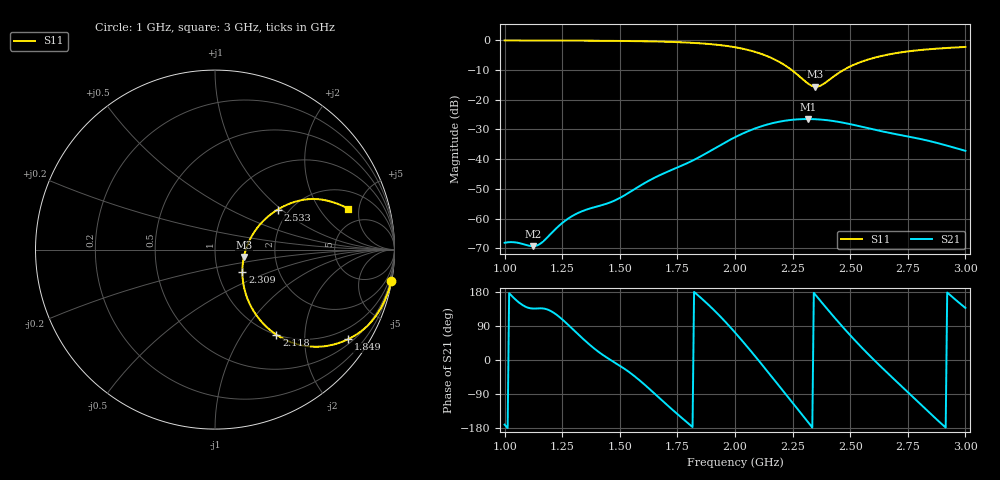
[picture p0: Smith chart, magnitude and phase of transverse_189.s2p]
! TOUCHSTONE file generated by CST MICROWAVE STUDIO
! Date and time: Tue Mar 11 13:57:38 2025
! Project name: transverse.cst
! Parameters = {Fracture=1; B=12.5; D=160; F=5; Feed=2.85625; L=100; M=30; R=0.384908; S=1; Theta=180; length=57.125; wave=114.25}
! Header version: 2024
! Port assignment regex: !\s*Touchstone port\s*([0-9]+)\s*=\s*(CST MWS port|CST DES external port|CST DES block port)\s*(.+)\s* \(\"(.*)\"\)(\s*mode\s*([0-9]+))?.*
! Touchstone port assignment:
! Touchstone port 1 = CST MWS port 1 ("")
! Touchstone port 2 = CST MWS port 2 ("")
# GHz S MA R 50
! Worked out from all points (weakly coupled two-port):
!   305 points, 1 GHz to 3 GHz, reference 50 ohm
!   highest |S21| = -26.49 dB at 2.316 GHz (marker M1); lowest = -69.3 dB at 1.125 GHz (marker M2)
!   lowest |S11| = -15.6 dB at 2.349 GHz (marker M3), VSWR 1.40, Z = 68.9 - j5.83 ohm
!   |S11| at or under -10 dB: 2.246 GHz to 2.47 GHz (224 MHz wide, 9.5 % of centre)
!   S12 and S22 are empty: the file has one direction only
!   S11 on the Smith chart (normalised r, x): 1 GHz: 0, -11; 1.849 GHz: 0.64, -3.15; 2.118 GHz: 1.00, -1.44; 2.309 GHz: 1.31, -0.34; 2.533 GHz: 1.75, +0.94; 3 GHz: 3.36, +3.84
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1  0.9976 -10.1  0.0003897 -170.6  0 0.0  0 0.0
1.04605  0.9969 -10.8  0.0003965 160.2  0 0.0  0 0.0
1.125  0.9955 -11.9  0.000342 135.7  0 0.0  0 0.0
1.16447  0.9948 -12.5  0.0004018 136.2  0 0.0  0 0.0
1.26974  0.9918 -14.4  0.0009595 96.4  0 0.0  0 0.0
1.33553  0.9891 -15.7  0.001323 58.6  0 0.0  0 0.0
1.48026  0.9812 -19.0  0.00203 -7.6  0 0.0  0 0.0
1.67105  0.9568 -25.3  0.005311 -99.9  0 0.0  0 0.0
1.84868  0.8929 -34.1  0.01101 165.7  0 0.0  0 0.0
2  0.7674 -44.8  0.02339 72.7  0 0.0  0 0.0
2.11842  0.5843 -54.2  0.03616 -13.2  0 0.0  0 0.0
2.21711  0.3802 -57.7  0.04439 -88.2  0 0.0  0 0.0
2.30921  0.1978 -39.6  0.04737 -158.2  0 0.0  0 0.0
2.31579  0.1891 -36.2  0.04738 -163.1  0 0.0  0 0.0
2.33553  0.1706 -23.8  0.04725 -177.9  0 0.0  0 0.0
2.34868  0.166 -14.4  0.04703 172.3  0 0.0  0 0.0
2.38158  0.182 7.7  0.04606 148.1  0 0.0  0 0.0
2.44079  0.2671 27.5  0.043 105.7  0 0.0  0 0.0
2.53289  0.414 32.6  0.03642 43.8  0 0.0  0 0.0
2.67105  0.5838 28.7  0.02764 -39.6  0 0.0  0 0.0
2.81579  0.695 22.8  0.0214 -122.9  0 0.0  0 0.0
3  0.7759 17.0  0.0138 137.3  0 0.0  0 0.0
